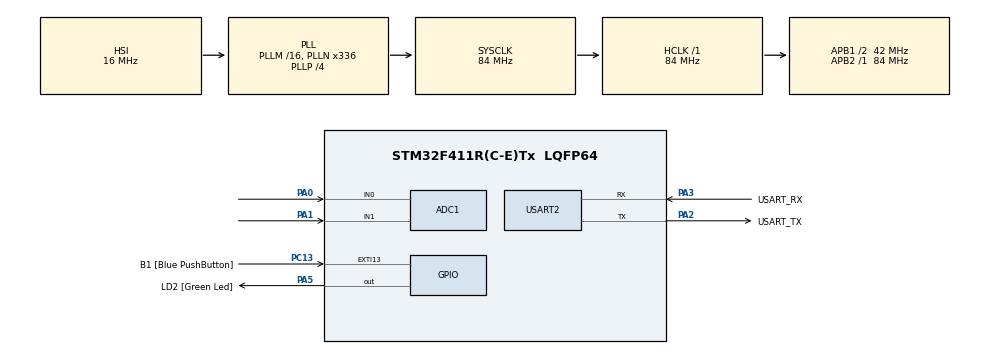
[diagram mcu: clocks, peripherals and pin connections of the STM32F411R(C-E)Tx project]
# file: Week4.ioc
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ADC1.Channel-0\#ChannelRegularConversion=ADC_CHANNEL_0
ADC1.Channel-1\#ChannelRegularConversion=ADC_CHANNEL_1
ADC1.Channel-2\#ChannelRegularConversion=ADC_CHANNEL_TEMPSENSOR
ADC1.Channel-3\#ChannelRegularConversion=ADC_CHANNEL_VREFINT
ADC1.ContinuousConvMode=ENABLE
ADC1.DMAContinuousRequests=ENABLE
ADC1.NbrOfConversion=4
ADC1.NbrOfConversionFlag=1
ADC1.Rank-0\#ChannelRegularConversion=1
ADC1.Rank-1\#ChannelRegularConversion=2
ADC1.Rank-2\#ChannelRegularConversion=3
ADC1.Rank-3\#ChannelRegularConversion=4
ADC1.SamplingTime-0\#ChannelRegularConversion=ADC_SAMPLETIME_480CYCLES
ADC1.SamplingTime-1\#ChannelRegularConversion=ADC_SAMPLETIME_480CYCLES
ADC1.SamplingTime-2\#ChannelRegularConversion=ADC_SAMPLETIME_480CYCLES
ADC1.SamplingTime-3\#ChannelRegularConversion=ADC_SAMPLETIME_480CYCLES
ADC1.ScanConvMode=ENABLE
ADC1.master=1
Dma.ADC1.0.Direction=DMA_PERIPH_TO_MEMORY
Dma.ADC1.0.FIFOMode=DMA_FIFOMODE_DISABLE
Dma.ADC1.0.Instance=DMA2_Stream0
Dma.ADC1.0.MemDataAlignment=DMA_MDATAALIGN_WORD
Dma.ADC1.0.MemInc=DMA_MINC_ENABLE
Dma.ADC1.0.Mode=DMA_CIRCULAR
Dma.ADC1.0.PeriphDataAlignment=DMA_PDATAALIGN_WORD
Dma.ADC1.0.PeriphInc=DMA_PINC_DISABLE
Dma.ADC1.0.Priority=DMA_PRIORITY_LOW
Dma.Request0=ADC1
Mcu.Family=STM32F4
Mcu.Name=STM32F411R(C-E)Tx
Mcu.Package=LQFP64
NVIC.DMA2_Stream0_IRQn=true\:0\:0\:false\:false\:true\:false\:true
NVIC.EXTI15_10_IRQn=true\:0\:0\:false\:false\:true\:true\:true
NVIC.PriorityGroup=NVIC_PRIORITYGROUP_0
PA0-WKUP.Signal=ADCx_IN0
PA1.Signal=ADCx_IN1
PA13.GPIO_Label=TMS
PA13.Mode=Serial_Wire
PA13.Signal=SYS_JTMS-SWDIO
PA14.GPIO_Label=TCK
PA14.Mode=Serial_Wire
PA14.Signal=SYS_JTCK-SWCLK
PA2.GPIO_Label=USART_TX
PA2.Mode=Asynchronous
PA2.Signal=USART2_TX
PA3.GPIO_Label=USART_RX
PA3.Mode=Asynchronous
PA3.Signal=USART2_RX
PA5.GPIO_Label=LD2 [Green Led]
PA5.Signal=GPIO_Output
PB3.GPIO_Label=SWO
PB3.Signal=SYS_JTDO-SWO
PC13-ANTI_TAMP.GPIO_Label=B1 [Blue PushButton]
PC13-ANTI_TAMP.GPIO_ModeDefaultEXTI=GPIO_MODE_IT_RISING_FALLING
PC13-ANTI_TAMP.GPIO_PuPd=GPIO_PULLUP
PC13-ANTI_TAMP.Signal=GPXTI13
PC14-OSC32_IN.Mode=LSE-External-Oscillator
PC14-OSC32_IN.Signal=RCC_OSC32_IN
PC15-OSC32_OUT.Mode=LSE-External-Oscillator
PC15-OSC32_OUT.Signal=RCC_OSC32_OUT
PH0\ -\ OSC_IN.Mode=HSE-External-Clock-Source
PH0\ -\ OSC_IN.Signal=RCC_OSC_IN
PH1\ -\ OSC_OUT.Mode=HSE-External-Clock-Source
PH1\ -\ OSC_OUT.Signal=RCC_OSC_OUT
ProjectManager.HeapSize=0x200
ProjectManager.StackSize=0x400
ProjectManager.TargetToolchain=STM32CubeIDE
RCC.48MHZClocksFreq_Value=84000000
RCC.AHBFreq_Value=84000000
RCC.APB1CLKDivider=RCC_HCLK_DIV2
RCC.APB1Freq_Value=42000000
RCC.APB1TimFreq_Value=84000000
RCC.APB2Freq_Value=84000000
RCC.APB2TimFreq_Value=84000000
RCC.CortexFreq_Value=84000000
RCC.FLatency-AdvancedSettings=FLASH_LATENCY_2
RCC.HCLKFreq_Value=84000000
RCC.HSE_VALUE=8000000
RCC.HSI_VALUE=16000000
RCC.PLLN=336
RCC.PLLP=RCC_PLLP_DIV4
RCC.SYSCLKFreq_VALUE=84000000
RCC.SYSCLKSource=RCC_SYSCLKSOURCE_PLLCLK
RCC.VCOOutputFreq_Value=336000000
SH.ADCx_IN0.0=ADC1_IN0,IN0
SH.ADCx_IN1.0=ADC1_IN1,IN1
USART2.VirtualMode=VM_ASYNC
VP_ADC1_TempSens_Input.Mode=IN-TempSens
VP_ADC1_Vref_Input.Mode=IN-Vrefint
board=NUCLEO-F411RE

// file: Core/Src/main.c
/* USER CODE BEGIN Header */
/**
  ******************************************************************************
  * @file           : main.c
  * @brief          : Main program body
  ******************************************************************************
  * @attention
  *
  * <h2><center>&copy; Copyright (c) 2021 STMicroelectronics.
  * All rights reserved.</center></h2>
  *
  * This software component is licensed by ST under BSD 3-Clause license,
  * the "License"; You may not use this file except in compliance with the
  * License. You may obtain a copy of the License at:
  *                        opensource.org/licenses/BSD-3-Clause
  *
  ******************************************************************************
  */
/* USER CODE END Header */
#include "main.h"

ADC_HandleTypeDef hadc1;
DMA_HandleTypeDef hdma_adc1;

UART_HandleTypeDef huart2;

/* USER CODE BEGIN PV */
uint32_t ADCData[4] = {0};
uint32_t LEDTime = 0;
uint32_t StartTime = 0;
uint32_t StopTime = 0;
uint32_t State = 0;
uint32_t Score = 0;
uint32_t Fail = 0;
/* USER CODE END PV */

void SystemClock_Config(void);
static void MX_GPIO_Init(void);
static void MX_DMA_Init(void);
static void MX_USART2_UART_Init(void);
static void MX_ADC1_Init(void);

int main(void)
{

  /* MCU Configuration--------------------------------------------------------*/

  /* Reset of all peripherals, Initializes the Flash interface and the Systick. */
  HAL_Init();

  /* Configure the system clock */
  SystemClock_Config();

  /* Initialize all configured peripherals */
  MX_GPIO_Init();
  MX_DMA_Init();
  MX_USART2_UART_Init();
  MX_ADC1_Init();
  /* USER CODE BEGIN 2 */
  HAL_ADC_Start_DMA(&hadc1, ADCData, 4);
  /* USER CODE END 2 */

  /* Infinite loop */
  while (1)
  {

    /* USER CODE BEGIN 3 */
	  if(HAL_GetTick() - StartTime >= LEDTime)
	  {
		  HAL_GPIO_WritePin(GPIOA, GPIO_PIN_5, GPIO_PIN_SET);
	  }
  }
  /* USER CODE END 3 */
}

void SystemClock_Config(void)
{
  RCC_OscInitTypeDef RCC_OscInitStruct = {0};
  RCC_ClkInitTypeDef RCC_ClkInitStruct = {0};

  /** Configure the main internal regulator output voltage
  */
  __HAL_RCC_PWR_CLK_ENABLE();
  __HAL_PWR_VOLTAGESCALING_CONFIG(PWR_REGULATOR_VOLTAGE_SCALE1);
  /** Initializes the RCC Oscillators according to the specified parameters
  * in the RCC_OscInitTypeDef structure.
  */
  RCC_OscInitStruct.OscillatorType = RCC_OSCILLATORTYPE_HSI;
  RCC_OscInitStruct.HSIState = RCC_HSI_ON;
  RCC_OscInitStruct.HSICalibrationValue = RCC_HSICALIBRATION_DEFAULT;
  RCC_OscInitStruct.PLL.PLLState = RCC_PLL_ON;
  RCC_OscInitStruct.PLL.PLLSource = RCC_PLLSOURCE_HSI;
  RCC_OscInitStruct.PLL.PLLM = 16;
  RCC_OscInitStruct.PLL.PLLN = 336;
  RCC_OscInitStruct.PLL.PLLP = RCC_PLLP_DIV4;
  RCC_OscInitStruct.PLL.PLLQ = 4;
  if (HAL_RCC_OscConfig(&RCC_OscInitStruct) != HAL_OK)
  {
    Error_Handler();
  }
  /** Initializes the CPU, AHB and APB buses clocks
  */
  RCC_ClkInitStruct.ClockType = RCC_CLOCKTYPE_HCLK|RCC_CLOCKTYPE_SYSCLK
                              |RCC_CLOCKTYPE_PCLK1|RCC_CLOCKTYPE_PCLK2;
  RCC_ClkInitStruct.SYSCLKSource = RCC_SYSCLKSOURCE_PLLCLK;
  RCC_ClkInitStruct.AHBCLKDivider = RCC_SYSCLK_DIV1;
  RCC_ClkInitStruct.APB1CLKDivider = RCC_HCLK_DIV2;
  RCC_ClkInitStruct.APB2CLKDivider = RCC_HCLK_DIV1;

  if (HAL_RCC_ClockConfig(&RCC_ClkInitStruct, FLASH_LATENCY_2) != HAL_OK)
  {
    Error_Handler();
  }
}

static void MX_ADC1_Init(void)
{

  ADC_ChannelConfTypeDef sConfig = {0};

  /** Configure the global features of the ADC (Clock, Resolution, Data Alignment and number of conversion)
  */
  hadc1.Instance = ADC1;
  hadc1.Init.ClockPrescaler = ADC_CLOCK_SYNC_PCLK_DIV4;
  hadc1.Init.Resolution = ADC_RESOLUTION_12B;
  hadc1.Init.ScanConvMode = ENABLE;
  hadc1.Init.ContinuousConvMode = ENABLE;
  hadc1.Init.DiscontinuousConvMode = DISABLE;
  hadc1.Init.ExternalTrigConvEdge = ADC_EXTERNALTRIGCONVEDGE_NONE;
  hadc1.Init.ExternalTrigConv = ADC_SOFTWARE_START;
  hadc1.Init.DataAlign = ADC_DATAALIGN_RIGHT;
  hadc1.Init.NbrOfConversion = 4;
  hadc1.Init.DMAContinuousRequests = ENABLE;
  hadc1.Init.EOCSelection = ADC_EOC_SINGLE_CONV;
  if (HAL_ADC_Init(&hadc1) != HAL_OK)
  {
    Error_Handler();
  }
  /** Configure for the selected ADC regular channel its corresponding rank in the sequencer and its sample time.
  */
  sConfig.Channel = ADC_CHANNEL_0;
  sConfig.Rank = 1;
  sConfig.SamplingTime = ADC_SAMPLETIME_480CYCLES;
  if (HAL_ADC_ConfigChannel(&hadc1, &sConfig) != HAL_OK)
  {
    Error_Handler();
  }
  /** Configure for the selected ADC regular channel its corresponding rank in the sequencer and its sample time.
  */
  sConfig.Channel = ADC_CHANNEL_1;
  sConfig.Rank = 2;
  if (HAL_ADC_ConfigChannel(&hadc1, &sConfig) != HAL_OK)
  {
    Error_Handler();
  }
  /** Configure for the selected ADC regular channel its corresponding rank in the sequencer and its sample time.
  */
  sConfig.Channel = ADC_CHANNEL_TEMPSENSOR;
  sConfig.Rank = 3;
  if (HAL_ADC_ConfigChannel(&hadc1, &sConfig) != HAL_OK)
  {
    Error_Handler();
  }
  /** Configure for the selected ADC regular channel its corresponding rank in the sequencer and its sample time.
  */
  sConfig.Channel = ADC_CHANNEL_VREFINT;
  sConfig.Rank = 4;
  if (HAL_ADC_ConfigChannel(&hadc1, &sConfig) != HAL_OK)
  {
    Error_Handler();
  }

}

static void MX_USART2_UART_Init(void)
{

  huart2.Instance = USART2;
  huart2.Init.BaudRate = 115200;
  huart2.Init.WordLength = UART_WORDLENGTH_8B;
  huart2.Init.StopBits = UART_STOPBITS_1;
  huart2.Init.Parity = UART_PARITY_NONE;
  huart2.Init.Mode = UART_MODE_TX_RX;
  huart2.Init.HwFlowCtl = UART_HWCONTROL_NONE;
  huart2.Init.OverSampling = UART_OVERSAMPLING_16;
  if (HAL_UART_Init(&huart2) != HAL_OK)
  {
    Error_Handler();
  }

}

static void MX_DMA_Init(void)
{

  /* DMA controller clock enable */
  __HAL_RCC_DMA2_CLK_ENABLE();

  /* DMA interrupt init */
  /* DMA2_Stream0_IRQn interrupt configuration */
  HAL_NVIC_SetPriority(DMA2_Stream0_IRQn, 0, 0);
  HAL_NVIC_EnableIRQ(DMA2_Stream0_IRQn);

}

static void MX_GPIO_Init(void)
{
  GPIO_InitTypeDef GPIO_InitStruct = {0};

  /* GPIO Ports Clock Enable */
  __HAL_RCC_GPIOC_CLK_ENABLE();
  __HAL_RCC_GPIOH_CLK_ENABLE();
  __HAL_RCC_GPIOA_CLK_ENABLE();
  __HAL_RCC_GPIOB_CLK_ENABLE();

  /*Configure GPIO pin Output Level */
  HAL_GPIO_WritePin(LD2_GPIO_Port, LD2_Pin, GPIO_PIN_RESET);

  /*Configure GPIO pin : B1_Pin */
  GPIO_InitStruct.Pin = B1_Pin;
  GPIO_InitStruct.Mode = GPIO_MODE_IT_RISING_FALLING;
  GPIO_InitStruct.Pull = GPIO_PULLUP;
  HAL_GPIO_Init(B1_GPIO_Port, &GPIO_InitStruct);

  /*Configure GPIO pin : LD2_Pin */
  GPIO_InitStruct.Pin = LD2_Pin;
  GPIO_InitStruct.Mode = GPIO_MODE_OUTPUT_PP;
  GPIO_InitStruct.Pull = GPIO_NOPULL;
  GPIO_InitStruct.Speed = GPIO_SPEED_FREQ_LOW;
  HAL_GPIO_Init(LD2_GPIO_Port, &GPIO_InitStruct);

  /* EXTI interrupt init*/
  HAL_NVIC_SetPriority(EXTI15_10_IRQn, 0, 0);
  HAL_NVIC_EnableIRQ(EXTI15_10_IRQn);

}

/* USER CODE BEGIN 4 */
void HAL_GPIO_EXTI_Callback(uint16_t GPIO_Pin)
{
	if(GPIO_Pin == GPIO_PIN_13 && State == 0)
	{
		LEDTime = 1000+(((22695477*ADCData[0])+ADCData[1])%10000);
		StartTime = HAL_GetTick();
		HAL_GPIO_WritePin(GPIOA, GPIO_PIN_5, GPIO_PIN_RESET);
		State = 1;
	}
	else if(GPIO_Pin == GPIO_PIN_13 && State == 1)
	{
		StopTime = HAL_GetTick();
		Score = StopTime - StartTime - LEDTime;
		if(StopTime - StartTime <= LEDTime)
		{
			Fail = 1;
		}
		else
		{
			Fail = 0;
		}
		State = 0;
	}
}
/* USER CODE END 4 */

void Error_Handler(void)
{
  __disable_irq();
  while (1)
  {
  }
}

/************************ (C) COPYRIGHT STMicroelectronics *****END OF FILE****/
